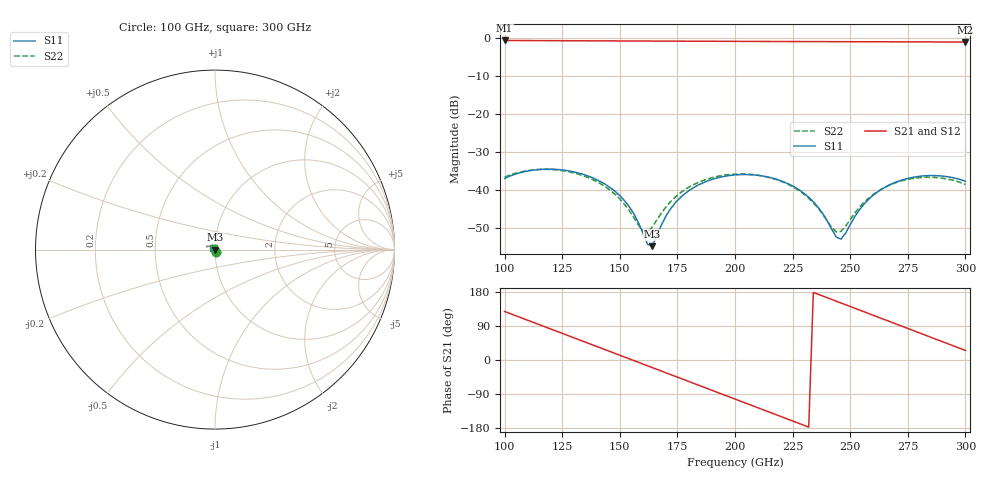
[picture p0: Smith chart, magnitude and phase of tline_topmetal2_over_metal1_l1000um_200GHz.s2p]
#  GHZ S DB R 50
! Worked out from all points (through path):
!   101 points, 100 GHz to 300 GHz, reference 50 ohm
!   highest |S21| = -0.70 dB at 100 GHz (marker M1); lowest = -1.1 dB at 300 GHz (marker M2)
!   group delay of S21, straight-line fit = 6.43 ps
!   lowest |S11| = -54.7 dB at 164 GHz (marker M3), VSWR 1.00, Z = 50.2 + j0.0377 ohm
!   |S11| at or under -10 dB: start of sweep to end of sweep
!   |S22| runs from -51.0 to -34.6 dB; largest |S21 - S12| = 1.1e-14
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100  -36.94 -72.7  -0.70 128.0  -0.70 128.0  -36.60 -71.5
116  -34.55 -118.7  -0.74 91.1  -0.74 91.1  -34.57 -118.3
124  -34.65 -141.1  -0.77 72.6  -0.77 72.6  -34.81 -141.4
134  -35.86 -169.3  -0.79 49.5  -0.79 49.5  -36.22 -170.7
150  -41.46 141.9  -0.83 12.5  -0.83 12.5  -42.35 134.5
156  -46.14 116.9  -0.84 -1.3  -0.84 -1.3  -47.15 100.3
160  -51.29 86.7  -0.85 -10.6  -0.85 -10.6  -50.71 56.0
162  -54.23 56.2  -0.86 -15.2  -0.86 -15.2  -51.01 25.1
164  -54.74 11.8  -0.86 -19.8  -0.86 -19.8  -49.79 -2.8
168  -49.23 -43.2  -0.87 -29.1  -0.87 -29.1  -46.08 -38.8
174  -43.42 -74.8  -0.88 -42.9  -0.88 -42.9  -41.88 -68.9
180  -40.15 -95.6  -0.90 -56.8  -0.90 -56.8  -39.22 -90.7
190  -37.20 -125.3  -0.92 -79.9  -0.92 -79.9  -36.74 -121.9
200  -36.02 -153.3  -0.94 -103.1  -0.94 -103.1  -35.81 -151.0
218  -37.17 156.5  -0.97 -144.7  -0.97 -144.7  -37.26 156.6
234  -43.06 105.3  -1.00 178.2  -1.00 178.2  -43.35 101.0
242  -50.30 55.8  -1.02 159.7  -1.02 159.7  -49.82 44.2
246  -52.88 -5.4  -1.02 150.4  -1.02 150.4  -50.84 -11.3
256  -43.69 -92.8  -1.04 127.3  -1.04 127.3  -43.22 -90.0
268  -38.38 -132.8  -1.06 99.4  -1.06 99.4  -38.46 -132.7
284  -36.20 -176.3  -1.09 62.3  -1.09 62.3  -36.64 179.9
300  -37.68 143.0  -1.11 25.2  -1.11 25.2  -38.51 131.7
